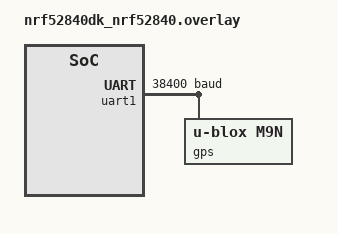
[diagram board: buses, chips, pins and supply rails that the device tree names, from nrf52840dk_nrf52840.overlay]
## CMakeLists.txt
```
cmake_minimum_required(VERSION 3.20.0)
find_package(Zephyr REQUIRED HINTS $ENV{ZEPHYR_BASE})

project(firmware)

target_sources(app PRIVATE src/main.c)

zephyr_include_directories(drivers)

add_subdirectory(drivers/gps-driver)
```

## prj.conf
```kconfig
CONFIG_LOG=y

CONFIG_SERIAL=y
CONFIG_UART_ASYNC_API=y

CONFIG_I2C=y

CONFIG_PM_DEVICE=y

CONFIG_MINIMAL_LIBC_MALLOC_ARENA_SIZE=2048
CONFIG_HEAP_MEM_POOL_SIZE=8192

CONFIG_RING_BUFFER=y
```

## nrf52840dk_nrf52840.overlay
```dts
/ {
	aliases {
		neo-m9n = &gps;
	};
};

&uart1 {
	status = "okay";
	current-speed = <38400>;

	gps: m9n {
		compatible = "u-blox,m9n";
		status = "okay";
		output-rate = <1>;
	};
};
```

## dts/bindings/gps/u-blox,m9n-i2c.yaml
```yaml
compatible: "u-blox,m9n"

include: ["i2c-device.yaml", "u-blox,m9n.yaml"]
```

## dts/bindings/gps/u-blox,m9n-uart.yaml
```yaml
compatible: "u-blox,m9n"

include: ["uart-device.yaml", "u-blox,m9n.yaml"]
```

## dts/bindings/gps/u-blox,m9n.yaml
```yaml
description: ublox NEO-M9N GNSS module

compatible: "u-blox,m9n"

properties:
  int-gpio:
    type: phandle
    description: Interrupt pin

  output-rate:
    type: int
    description: |
      Default GNSS solutions output rate in Hz. Following values are allowed:
        1
        10
        25
    default: 10
    enum:
      - 1
      - 10
      - 25
```

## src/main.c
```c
#include <stdlib.h>
#include <zephyr/kernel.h>
#include <zephyr/logging/log.h>

#include "../drivers/gps-driver/gps-driver.h"

/*===================================================================

KOD W TYM PLIKU TO DEMO DZIAŁANIA BIBLIOTEKI GPS-DRIVER
- NIE JEST TO CZĘŚĆ BIBLIOTEKI

====================================================================*/

#define LOG_LEVEL CONFIG_LOG_DEFAULT_LEVEL
LOG_MODULE_REGISTER(main);

const struct device *neo_m9n_gps = DEVICE_DT_GET(DT_ALIAS(neo_m9n));

/* Funkcja tworzona przez użytkownika do obsługi odpowiedzi z GPS - typ zgodny z gps_handler_t */
void disable_navpvt_handler_test(const struct device *dev, uint8_t gps_code, uint8_t class, uint8_t id, ubx_msg_t *msg,
                                 void *user_data)
{
    LOG_INF("disable_navpvt_handler_test: %d, %x, %x", gps_code, class, id);

    if (msg != NULL)
    {
        if (msg->payload != NULL)
        {
            free(msg->payload);
            msg->payload = NULL;
        }
    }
}

/* Funkcja tworzona przez użytkownika do obsługi odpowiedzi z GPS - typ zgodny z gps_handler_t */
void enable_navpvt_handler_test(const struct device *dev, uint8_t gps_code, uint8_t class, uint8_t id, ubx_msg_t *msg,
                                void *user_data)
{
    LOG_INF("enable_navpvt_handler_test: %d, %x, %x", gps_code, class, id);

    if (msg != NULL)
    {
        if (msg->payload != NULL)
        {
            free(msg->payload);
            msg->payload = NULL;
        }
    }
}

/* Funkcja tworzona przez użytkownika do obsługi odpowiedzi z GPS - typ zgodny z gps_handler_t */
void nav_pvt_handler(const struct device *dev, uint8_t gps_code, uint8_t class, uint8_t id, ubx_msg_t *msg,
                     void *user_data)
{
    ubx_nav_pvt_t *pvt_msg = (ubx_nav_pvt_t *)msg->payload;

    LOG_INF("GPS time: %02d:%02d:%02d.%03d UTC", pvt_msg->hour, pvt_msg->min, pvt_msg->sec, pvt_msg->nano / 1000000);
    LOG_INF("GPS position: %d.%d, %d.%d", pvt_msg->lat / 10000000, pvt_msg->lat % 10000000, pvt_msg->lon / 10000000,
            pvt_msg->lon % 10000000);

    if (msg != NULL)
    {
        if (msg->payload != NULL)
        {
            free(msg->payload);
            msg->payload = NULL;
        }
    }
}

/* Funkcja tworzona przez użytkownika do obsługi odpowiedzi z GPS - typ zgodny z gps_handler_t */
void set_rate_1000_handler(const struct device *dev, uint8_t gps_code, uint8_t class, uint8_t id, ubx_msg_t *msg,
                           void *user_data)
{
    LOG_INF("set_rate_1000_handler: %d, %x, %x", gps_code, class, id);

    if (msg != NULL)
    {
        if (msg->payload != NULL)
        {
            free(msg->payload);
            msg->payload = NULL;
        }
    }

    if (gps_code == GPS_HANDLER_CODES_TIMEOUT)
    {
        gps_set_cfg_rate(neo_m9n_gps, 1000, 1, UBX_CFG_TYPES_TIME_SYSTEM_NONE, GPS_MEMORY_GET_LAYER_BBR, 1,
                         set_rate_1000_handler, NULL);
    }
}

int main(void)
{
    k_sleep(K_MSEC(1000));

    // Disable UBX-NAV-PVT msg (GPS time, position, velocity, etc.)
    gps_set_disable_ubx_nav_pvt(neo_m9n_gps, GPS_MEMORY_GET_LAYER_BBR, 1, disable_navpvt_handler_test, NULL);

    k_sleep(K_MSEC(5000));

    // Register callback for UBX-NAV-PVT msg (GPS time, position, velocity, etc.) and enable it
    gps_register_callback(neo_m9n_gps, UBX_NAV_CLASS, UBX_NAV_PVT_ID, nav_pvt_handler, NULL, 0);
    gps_set_enable_ubx_nav_pvt(neo_m9n_gps, GPS_MEMORY_GET_LAYER_BBR, 1, enable_navpvt_handler_test, NULL);

    // Set rate of UBX-NAV-PVT msg to 40ms (25Hz) for 2 seconds, then set rate to 1000ms (1Hz)
    gps_set_cfg_rate(neo_m9n_gps, 40, 1, UBX_CFG_TYPES_TIME_SYSTEM_NONE, GPS_MEMORY_GET_LAYER_BBR, 1, NULL, NULL);

    k_sleep(K_MSEC(2000));

    gps_set_cfg_rate(neo_m9n_gps, 1000, 1, UBX_CFG_TYPES_TIME_SYSTEM_NONE, GPS_MEMORY_GET_LAYER_BBR, 1,
                     set_rate_1000_handler, NULL);

    k_sleep(K_FOREVER);

    return 0;
}
```
